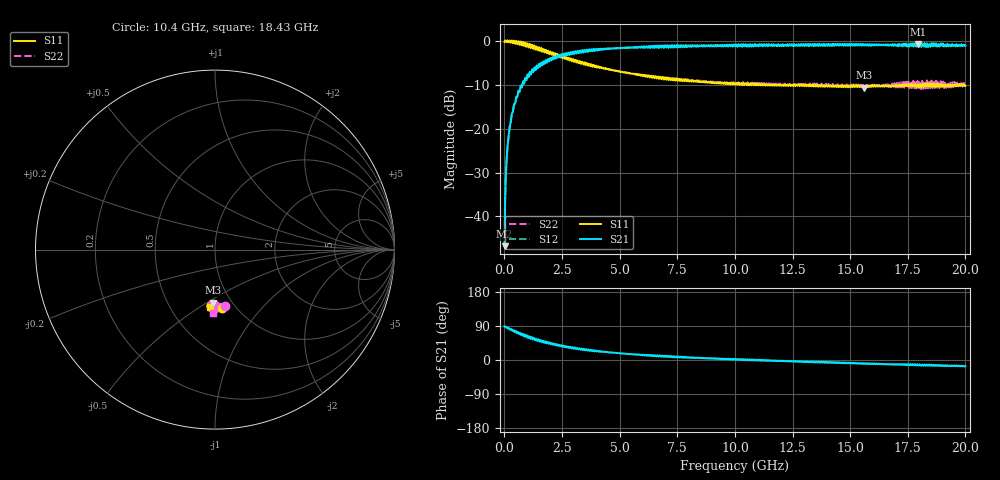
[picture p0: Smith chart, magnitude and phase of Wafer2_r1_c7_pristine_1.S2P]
!  2-Port S-parameters saved by WinCal
! VAR MeasName=S-Parameters (CALIBRATED_DATA) read from VNA (P5004A)
! VAR MeasDate=26/04/2024 17:48:02
! VAR NAME=Wafer2_r1_c7_pristine
! VAR FILENAME=Wafer2_r1_c7_pristine_1.S2P
! VAR DATE=26/04/2024 17:48:02
! VAR PHYS_PORTS=1,2
! VAR ObjTypeName=DATASET
! VAR IndexType=Frequency
# Hz S MA R 50
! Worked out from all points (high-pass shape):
!   1999 points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, 10.01 MHz to 20 GHz, reference 50 ohm
!   highest |S21| = -0.66 dB at 17.94 GHz (marker M1); lowest = -46.8 dB at 10.01 MHz (marker M2)
!   |S21| within 3 dB of the highest: 2.257 GHz to 2.318 GHz (61 MHz wide, 2.67 % of centre); 2.343 GHz to end of sweep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
!   lowest |S11| = -10.6 dB at 15.61 GHz (marker M3), VSWR 1.84, Z = 41 - j26.5 ohm
!   |S11| at or under -10 dB: 13.48 GHz to 13.57 GHz (90.37 MHz wide, 0.668 % of centre); 13.58 GHz to 17.13 GHz (3.553 GHz wide, 23.1 % of centre); 19.06 GHz to 19.13389 GHz (73.89 MHz wide, 0.387 % of centre)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
!   |S22| runs from -10.9 to 0.1 dB; largest |S21 - S12| = 0.037
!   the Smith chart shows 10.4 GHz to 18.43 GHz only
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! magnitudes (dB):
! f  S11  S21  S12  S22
! 10.01 MHz  -0.2  -46.8  -46.7  -0.2
! 50.03 MHz  0.1  -32.6  -32.7  0.1
! 120.1 MHz  0.1  -25.2  -25.2  0.0
! 160.1 MHz  -0.1  -22.9  -23.0  -0.1
! 210.1 MHz  0.0  -20.5  -20.4  0.0
! 280.1 MHz  -0.3  -18.3  -18.3  -0.3
! 380.2 MHz  -0.4  -15.8  -15.7  -0.4
! 500.3 MHz  -0.1  -13.2  -13.2  -0.1
! 660.3 MHz  -0.8  -11.5  -11.5  -0.8
! 850.4 MHz  -1.1  -9.7  -9.7  -1.1
! 1.051 GHz  -1.4  -8.2  -8.2  -1.4
! 1.551 GHz  -2.2  -5.8  -5.7  -2.2
! 2.331 GHz  -3.6  -3.8  -3.8  -3.5
! 3.342 GHz  -5.0  -2.5  -2.4  -5.0
! 4.802 GHz  -6.7  -1.6  -1.6  -6.7
! 6.673 GHz  -8.1  -1.0  -1.1  -8.3
! 10.01 GHz  -9.9  -1.1  -1.3  -9.8
! 13.35 GHz  -10.1  -0.9  -0.7  -9.7
! 15.61 GHz  -10.6  -1.0  -1.0  -10.4
! 16.68 GHz  -10.3  -0.9  -1.0  -10.5
! 17.94 GHz  -9.9  -0.7  -0.6  -9.4
! 20 GHz  -10.2  -1.0  -0.9  -10.0
